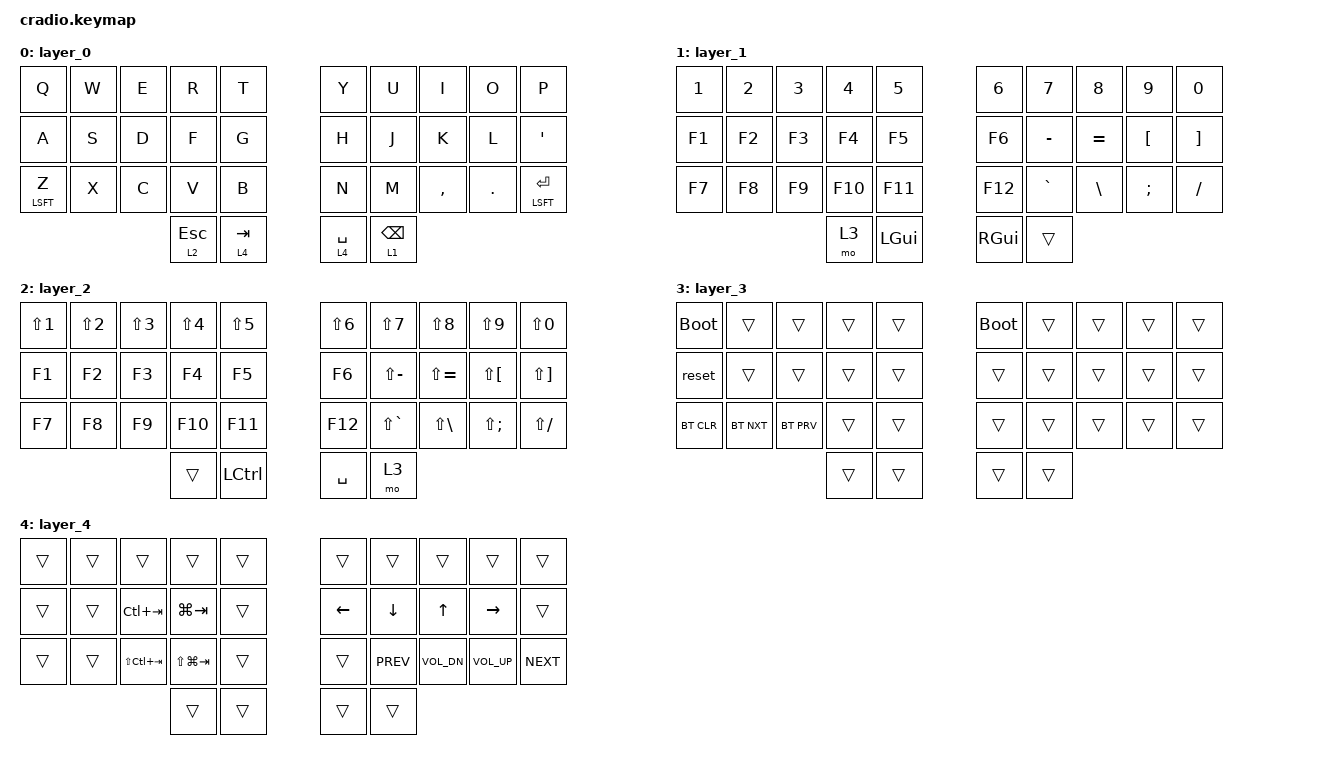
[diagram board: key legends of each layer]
/*
 * Copyright (c) 2020 The ZMK Contributors
 *
 * SPDX-License-Identifier: MIT
 */

#include <behaviors.dtsi>
#include <dt-bindings/zmk/keys.h>
#include <dt-bindings/zmk/bt.h>


&mt {
	//  flavor = "tap-preferred";
	 // tapping_term_ms = <200>;
};

/ {
	combos {
		compatible = "zmk,combos";
		combo_esc {
			timeout-ms = <50>;
			key-positions = <0 1>;
			bindings = <&kp ESC>;
		};

		combo_ralt {
			timeout-ms = <50>;
			key-positions = <17 16>;
			bindings = <&kp RALT>;
		};

		combo_lalt {
			timeout-ms = <50>;
			key-positions = <11 12>;
			bindings = <&kp LALT>;
		};

		combo_lgui {
			timeout-ms = <50>;
			key-positions = <12 13>;
			bindings = <&kp LGUI>;
		};

		combo_rgui {
			timeout-ms = <50>;
			key-positions = <17 18>;
			bindings = <&kp RGUI>;
		};

		combo_lctrl {
			timeout-ms = <50>;
			key-positions = <22 23>;
			bindings = <&kp LCTRL>;
		};
		combo_rctrl {
			timeout-ms = <50>;
			key-positions = <27 28>;
			bindings = <&kp RCTRL>;
		};
	};

	keymap {
		compatible = "zmk,keymap";

		layer_0 {
			bindings = <
				&kp Q				&kp W	&kp E	&kp R	&kp T		&kp Y	&kp U	&kp I			&kp O	&kp P
				&kp A				&kp S	&kp D	&kp F	&kp G		&kp H	&kp J	&kp K			&kp L	&kp QUOT
				&mt LSFT Z 	&kp X	&kp C	&kp V	&kp B		&kp N	&kp M	&kp CMMA	&kp DOT	&mt LSFT RET
										&lt 2 ESC	&lt 4 TAB							&lt 4 SPC	&lt 1 BSPC
			>;
		};

		layer_1 {
			bindings = <
				&kp N1	&kp N2	&kp N3	&kp N4	&kp N5			&kp N6	&kp N7		&kp N8				&kp N9		&kp N0
				&kp F1	&kp F2	&kp F3	&kp F4	&kp F5			&kp F6	&kp MINUS	&kp EQUAL			&kp LBKT	&kp RBKT
				&kp F7	&kp F8	&kp F9	&kp F10	&kp F11			&kp F12	&kp GRAVE	&kp BACKSLASH	&kp SEMI	&kp SLASH
														&mo 3		&kp LGUI						&kp RGUI	&trans
			>;
		};

		layer_2 {
			bindings = <
				&kp LS(N1)	&kp LS(N2)	&kp LS(N3)	&kp LS(N4)	&kp LS(N5)			&kp LS(N6)	&kp LS(N7)		&kp LS(N8)	&kp LS(N9)	&kp LS(N0)
				&kp F1	&kp F2	&kp F3	&kp F4	&kp F5			&kp F6	&kp LS(MINUS)	&kp LS(EQUAL)			&kp LS(LBKT)	&kp LS(RBKT)
				&kp F7	&kp F8	&kp F9	&kp F10	&kp F11			&kp F12	&kp LS(GRAVE)	&kp LS(BACKSLASH)	&kp LS(SEMI)	&kp LS(SLASH)
															&trans &kp LCTL								&kp SPC  &mo 3
			>;
		};

		layer_3 {
			bindings = <
				&bootloader	&trans	&trans	&trans	&trans							&bootloader	&trans	&trans	&trans	&trans
				&reset 			&trans	&trans	&trans	&trans  						&trans	&trans	&trans	&trans	&trans
				&bt BT_CLR	&bt BT_NXT	&bt BT_PRV	&trans 	&trans		  &trans	&trans	&trans	&trans	&trans
																				&trans	&trans			  		&trans	&trans
			>;
		};

		layer_4 {
			bindings = <
				&trans	&trans	&trans	&trans	&trans			&trans	&trans	&trans	&trans	&trans
				&trans 	&trans	&kp LC(TAB)	&kp LG(TAB)	&trans  		&kp LEFT	&kp DOWN	&kp UP	&kp RIGHT	&trans
				&trans	&trans	&kp LS(LC(TAB))	&kp LS(LG(TAB)) 	&trans		  &trans	&kp C_PREV	&kp C_VOL_DN	&kp C_VOL_UP	&kp C_NEXT
															&trans	&trans			  		&trans	&trans
			>;
		};

	};
};
